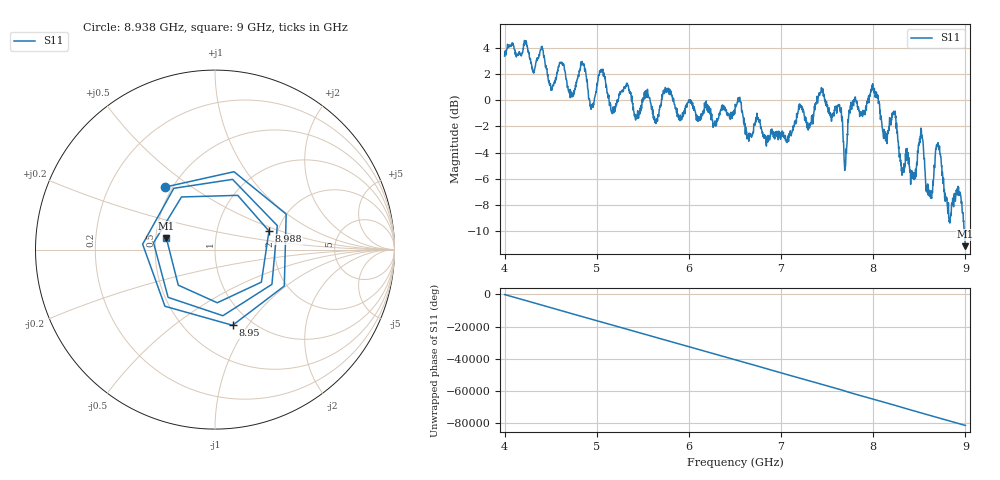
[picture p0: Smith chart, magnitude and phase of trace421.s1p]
! Created with skrf 1.8.0 (http://scikit-rf.org).
# Hz S RI R 50.0
!freq ReS11 ImS11
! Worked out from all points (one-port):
!   1601 points, 4 GHz to 9 GHz, reference 50 ohm
!   lowest |S11| = -11.1 dB at 9 GHz (marker M1), VSWR 1.77, Z = 28.5 + j3.87 ohm
!   |S11| at or under -10 dB: 8.990292 GHz to end of sweep
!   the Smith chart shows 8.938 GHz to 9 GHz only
!   S11 on the Smith chart (normalised r, x): 8.938 GHz: 0.46, +0.40; 8.95 GHz: 0.82, -0.85; 8.988 GHz: 1.80, +0.41; 9 GHz: 0.57, +0.08
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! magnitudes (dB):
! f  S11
! 4 GHz  3.4
! 4.406 GHz  4.1
! 4.512 GHz  0.8
! 4.625 GHz  2.8
! 4.728 GHz  0.3
! 4.853 GHz  2.7
! 4.944 GHz  -0.4
! 5.044 GHz  2.1
! 5.162 GHz  -0.9
! 5.25 GHz  0.6
! 5.875 GHz  -1.2
! 6.5 GHz  -1.0
! 7.125 GHz  -2.2
! 7.441 GHz  0.7
! 7.638 GHz  -0.7
! 7.697 GHz  -5.1
! 7.75 GHz  -0.6
! 8 GHz  0.8
! 8.375 GHz  -4.5
! 8.441 GHz  -6.0
! 8.522 GHz  -2.2
! 8.619 GHz  -7.2
! 8.703 GHz  -3.2
! 8.822 GHz  -9.0
! 8.938 GHz  -7.0
! 8.95 GHz  -7.3
! 8.988 GHz  -9.9
! 9 GHz  -11.1
